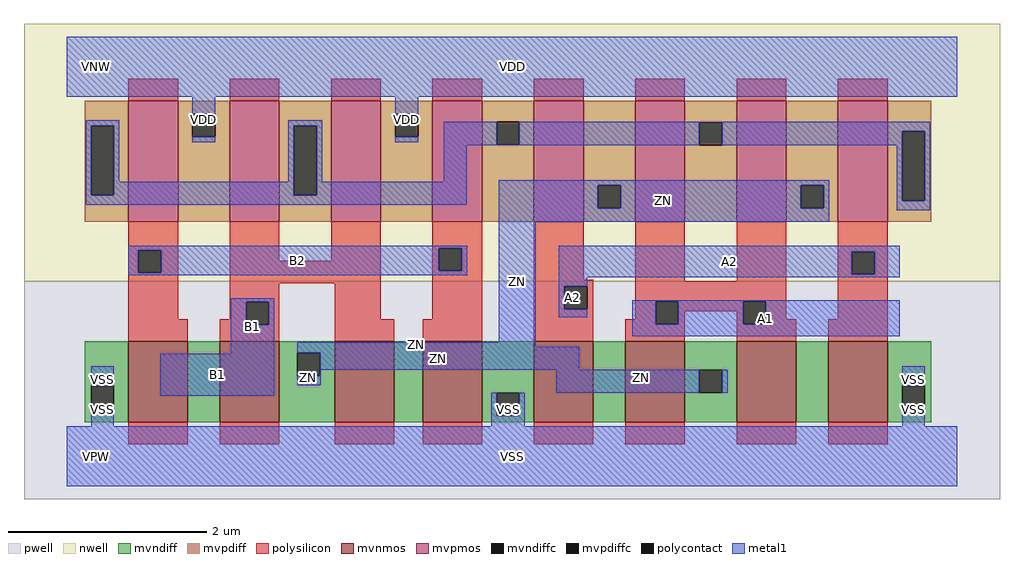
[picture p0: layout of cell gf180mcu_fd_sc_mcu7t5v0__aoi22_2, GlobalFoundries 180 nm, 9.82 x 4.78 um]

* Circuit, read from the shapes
.subckt gf180mcu_fd_sc_mcu7t5v0__aoi22_2 A1 A2 B1 B2 ZN VDD VNW VPW VSS
XM1 n1 B2 VSS VPW nfet_06v0 w=0.815u l=0.6u
XM2 ZN B1 n1 VPW nfet_06v0 w=0.815u l=0.6u
XM3 n2 B1 ZN VPW nfet_06v0 w=0.815u l=0.6u
XM4 VSS B2 n2 VPW nfet_06v0 w=0.815u l=0.6u
XM5 n3 A2 VSS VPW nfet_06v0 w=0.815u l=0.6u
XM6 ZN A1 n3 VPW nfet_06v0 w=0.815u l=0.6u
XM7 n4 A1 ZN VPW nfet_06v0 w=0.815u l=0.6u
XM8 VSS A2 n4 VPW nfet_06v0 w=0.815u l=0.6u
XM9 VDD B2 n5 VNW pfet_06v0 w=1.215u l=0.5u m=2
XM10 n5 B1 VDD VNW pfet_06v0 w=1.215u l=0.5u m=2
XM11 ZN A2 n5 VNW pfet_06v0 w=1.215u l=0.5u m=2
XM12 n5 A1 ZN VNW pfet_06v0 w=1.215u l=0.5u m=2
.ends

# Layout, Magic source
magic
tech gf180mcuD
magscale 1 10
<< nwell >>
rect -86 352 1878 870
<< pwell >>
rect -86 -86 1878 352
<< mvnmos >>
rect 124 69 244 232
rect 308 69 428 232
rect 539 69 659 232
rect 716 69 836 232
rect 940 69 1060 232
rect 1124 69 1244 232
rect 1348 69 1468 232
rect 1532 69 1652 232
<< mvpmos >>
rect 124 472 224 715
rect 328 472 428 715
rect 532 472 632 715
rect 736 472 836 715
rect 940 472 1040 715
rect 1144 472 1244 715
rect 1348 472 1448 715
rect 1552 472 1652 715
<< mvndiff >>
rect 36 142 124 232
rect 36 96 49 142
rect 95 96 124 142
rect 36 69 124 96
rect 244 69 308 232
rect 428 208 539 232
rect 428 162 464 208
rect 510 162 539 208
rect 428 69 539 162
rect 659 69 716 232
rect 836 128 940 232
rect 836 82 865 128
rect 911 82 940 128
rect 836 69 940 82
rect 1060 69 1124 232
rect 1244 174 1348 232
rect 1244 128 1273 174
rect 1319 128 1348 174
rect 1244 69 1348 128
rect 1468 69 1532 232
rect 1652 142 1740 232
rect 1652 96 1681 142
rect 1727 96 1740 142
rect 1652 69 1740 96
<< mvpdiff >>
rect 36 665 124 715
rect 36 525 49 665
rect 95 525 124 665
rect 36 472 124 525
rect 224 689 328 715
rect 224 643 253 689
rect 299 643 328 689
rect 224 472 328 643
rect 428 665 532 715
rect 428 525 457 665
rect 503 525 532 665
rect 428 472 532 525
rect 632 689 736 715
rect 632 643 661 689
rect 707 643 736 689
rect 632 472 736 643
rect 836 673 940 715
rect 836 627 865 673
rect 911 627 940 673
rect 836 472 940 627
rect 1040 545 1144 715
rect 1040 499 1069 545
rect 1115 499 1144 545
rect 1040 472 1144 499
rect 1244 672 1348 715
rect 1244 626 1273 672
rect 1319 626 1348 672
rect 1244 472 1348 626
rect 1448 545 1552 715
rect 1448 499 1477 545
rect 1523 499 1552 545
rect 1448 472 1552 499
rect 1652 654 1740 715
rect 1652 514 1681 654
rect 1727 514 1740 654
rect 1652 472 1740 514
<< mvndiffc >>
rect 49 96 95 142
rect 464 162 510 208
rect 865 82 911 128
rect 1273 128 1319 174
rect 1681 96 1727 142
<< mvpdiffc >>
rect 49 525 95 665
rect 253 643 299 689
rect 457 525 503 665
rect 661 643 707 689
rect 865 627 911 673
rect 1069 499 1115 545
rect 1273 626 1319 672
rect 1477 499 1523 545
rect 1681 514 1727 654
<< polysilicon >>
rect 124 715 224 760
rect 328 715 428 760
rect 532 715 632 760
rect 736 715 836 760
rect 940 715 1040 760
rect 1144 715 1244 760
rect 1348 715 1448 760
rect 1552 715 1652 760
rect 124 415 224 472
rect 124 369 144 415
rect 190 369 224 415
rect 124 276 224 369
rect 328 394 428 472
rect 532 394 632 472
rect 328 348 632 394
rect 328 311 428 348
rect 328 276 361 311
rect 124 232 244 276
rect 308 265 361 276
rect 407 265 428 311
rect 308 232 428 265
rect 539 276 632 348
rect 736 419 836 472
rect 736 373 749 419
rect 795 373 836 419
rect 736 276 836 373
rect 539 232 659 276
rect 716 232 836 276
rect 940 355 1040 472
rect 940 342 1060 355
rect 940 296 1001 342
rect 1047 296 1060 342
rect 940 232 1060 296
rect 1144 352 1244 472
rect 1348 352 1448 472
rect 1144 312 1448 352
rect 1144 276 1185 312
rect 1124 266 1185 276
rect 1231 292 1361 312
rect 1231 266 1244 292
rect 1124 232 1244 266
rect 1348 266 1361 292
rect 1407 276 1448 312
rect 1552 412 1652 472
rect 1552 366 1580 412
rect 1626 366 1652 412
rect 1552 276 1652 366
rect 1407 266 1468 276
rect 1348 232 1468 266
rect 1532 232 1652 276
rect 124 24 244 69
rect 308 24 428 69
rect 539 24 659 69
rect 716 24 836 69
rect 940 24 1060 69
rect 1124 24 1244 69
rect 1348 24 1468 69
rect 1532 24 1652 69
<< polycontact >>
rect 144 369 190 415
rect 361 265 407 311
rect 749 373 795 419
rect 1001 296 1047 342
rect 1185 266 1231 312
rect 1361 266 1407 312
rect 1580 366 1626 412
<< metal1 >>
rect 0 724 1792 844
rect 253 689 299 724
rect 38 665 106 676
rect 38 525 49 665
rect 95 552 106 665
rect 661 689 707 724
rect 253 632 299 643
rect 446 665 514 676
rect 446 552 457 665
rect 95 525 457 552
rect 503 552 514 665
rect 661 632 707 643
rect 759 627 865 673
rect 911 672 1738 673
rect 911 627 1273 672
rect 759 626 1273 627
rect 1319 654 1738 672
rect 1319 626 1681 654
rect 759 552 805 626
rect 503 525 805 552
rect 38 506 805 525
rect 869 545 1534 556
rect 869 499 1069 545
rect 1115 499 1477 545
rect 1523 499 1534 545
rect 869 472 1534 499
rect 1670 514 1681 626
rect 1727 514 1738 654
rect 1670 495 1738 514
rect 124 419 806 424
rect 124 415 749 419
rect 124 369 144 415
rect 190 373 749 415
rect 795 373 806 419
rect 190 369 806 373
rect 124 364 806 369
rect 330 311 418 318
rect 330 265 361 311
rect 407 265 418 311
rect 330 206 418 265
rect 869 230 944 472
rect 990 412 1676 424
rect 990 366 1580 412
rect 1626 366 1676 412
rect 990 360 1676 366
rect 990 342 1047 360
rect 990 296 1001 342
rect 990 280 1047 296
rect 1138 312 1676 314
rect 1138 266 1185 312
rect 1231 266 1361 312
rect 1407 266 1676 312
rect 1138 242 1676 266
rect 49 142 95 181
rect 188 122 418 206
rect 464 220 944 230
rect 464 208 1031 220
rect 510 174 1031 208
rect 510 162 511 174
rect 464 143 511 162
rect 985 128 1273 174
rect 1319 128 1330 174
rect 1681 142 1727 181
rect 49 60 95 96
rect 854 82 865 128
rect 911 82 922 128
rect 854 60 922 82
rect 1681 60 1727 96
rect 0 -60 1792 60
<< labels >>
flabel metal1 s 330 206 418 318 0 FreeSans 400 0 0 0 B1
port 3 nsew default input
flabel metal1 s 124 364 806 424 0 FreeSans 400 0 0 0 B2
port 4 nsew default input
flabel metal1 s 0 724 1792 844 0 FreeSans 400 0 0 0 VDD
port 6 nsew power bidirectional abutment
flabel metal1 s 1681 128 1727 181 0 FreeSans 400 0 0 0 VSS
port 9 nsew ground bidirectional abutment
flabel metal1 s 869 472 1534 556 0 FreeSans 400 0 0 0 ZN
port 5 nsew default output
flabel metal1 s 1138 242 1676 314 0 FreeSans 400 0 0 0 A1
port 1 nsew default input
flabel metal1 s 990 360 1676 424 0 FreeSans 400 0 0 0 A2
port 2 nsew default input
flabel nwell s 10 734 110 834 0 FreeSans 400 0 0 0 VNW
port 7 nsew power bidirectional
flabel pwell s 10 -50 110 50 0 FreeSans 400 0 0 0 VPW
port 8 nsew ground bidirectional
rlabel metal1 s 990 280 1047 360 1 A2
port 2 nsew default input
rlabel metal1 s 188 122 418 206 1 B1
port 3 nsew default input
rlabel metal1 s 869 230 944 472 1 ZN
port 5 nsew default output
rlabel metal1 s 464 220 944 230 1 ZN
port 5 nsew default output
rlabel metal1 s 464 174 1031 220 1 ZN
port 5 nsew default output
rlabel metal1 s 985 143 1330 174 1 ZN
port 5 nsew default output
rlabel metal1 s 464 143 511 174 1 ZN
port 5 nsew default output
rlabel metal1 s 985 128 1330 143 1 ZN
port 5 nsew default output
rlabel metal1 s 661 632 707 724 1 VDD
port 6 nsew power bidirectional abutment
rlabel metal1 s 253 632 299 724 1 VDD
port 6 nsew power bidirectional abutment
rlabel metal1 s 49 128 95 181 1 VSS
port 9 nsew ground bidirectional abutment
rlabel metal1 s 1681 60 1727 128 1 VSS
port 9 nsew ground bidirectional abutment
rlabel metal1 s 854 60 922 128 1 VSS
port 9 nsew ground bidirectional abutment
rlabel metal1 s 49 60 95 128 1 VSS
port 9 nsew ground bidirectional abutment
rlabel metal1 s 0 -60 1792 60 1 VSS
port 9 nsew ground bidirectional abutment
<< properties >>
string FIXED_BBOX 0 0 1792 784
string GDS_END 1269246
string GDS_FILE $PDKPATH/libs.ref/gf180mcu_fd_sc_mcu7t5v0/gds/gf180mcu_fd_sc_mcu7t5v0.gds
string GDS_START 1264704
string LEFclass core
string LEFsite GF018hv5v_mcu_sc7
string LEFsymmetry X Y
<< end >>
